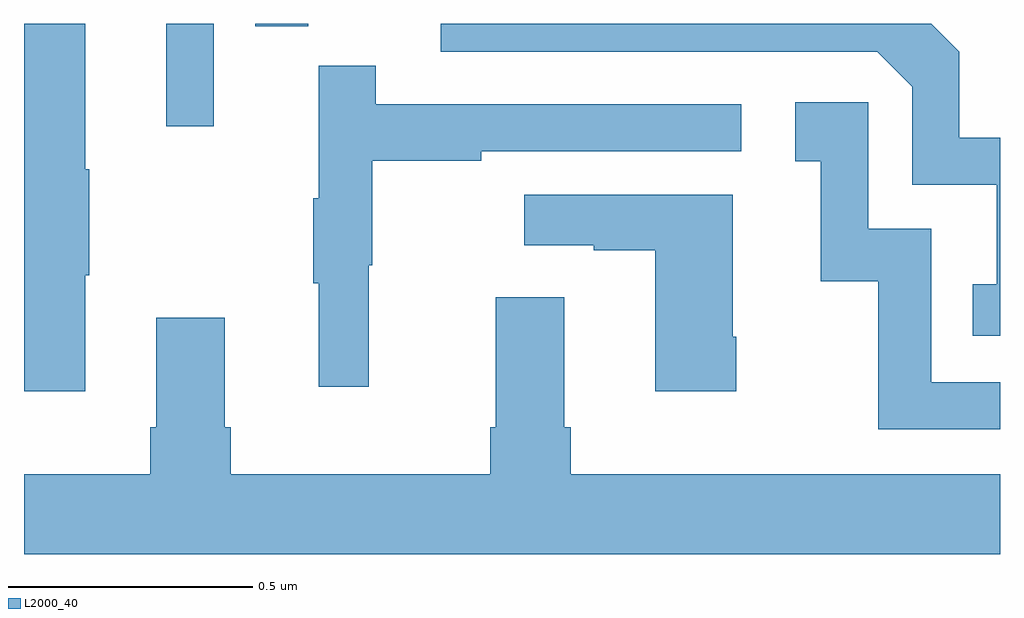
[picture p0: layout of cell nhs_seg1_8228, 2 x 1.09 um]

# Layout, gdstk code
import gdstk
lib = gdstk.Library(unit=1e-6, precision=1e-09)
def R(c, l, rs):  # rectangles x0, y0, x1, y1
    for r in rs: c.add(gdstk.rectangle(r[:2], r[2:], *l))
def P(c, l, *ps):  # polygons
    for p in ps: c.add(gdstk.Polygon(p, *l))
L2000_40 = (2000, 40)

nhs_seg1_8228 = lib.new_cell('nhs_seg1_8228')
R(nhs_seg1_8228, L2000_40, [(214.292,505.989,214.389,506.199), (214.474,506.194,214.582,506.199)])
P(nhs_seg1_8228, L2000_40, [(216,505.965),(215.916,505.965),(215.916,506.142),(215.859,506.199),(214.854,506.199),(214.854,506.142),(215.748,506.142),(215.82,506.07),(215.82,505.869),(215.993,505.869),(215.993,505.665),(215.944,505.665),(215.944,505.56),(216,505.56)],
  [(214.126,505.684),(214.134,505.684),(214.134,505.901),(214.126,505.901),(214.126,506.199),(214,506.199),(214,505.446),(214.126,505.446)],
  [(214.706,505.704),(214.714,505.704),(214.714,505.918),(214.937,505.918),(214.937,505.938),(215.47,505.938),(215.47,506.034),(214.721,506.034),(214.721,506.113),(214.604,506.113),(214.604,505.841),(214.593,505.841),(214.593,505.667),(214.604,505.667),(214.604,505.455),(214.706,505.455)],
  [(216,505.464),(215.859,505.464),(215.859,505.779),(215.73,505.779),(215.73,506.038),(215.58,506.038),(215.58,505.917),(215.633,505.917),(215.633,505.671),(215.751,505.671),(215.751,505.368),(216,505.368)],
  [(215.46,505.558),(215.452,505.558),(215.452,505.849),(215.025,505.849),(215.025,505.745),(215.168,505.745),(215.168,505.735),(215.294,505.735),(215.294,505.446),(215.46,505.446)],
  [(216,505.276),(215.12,505.276),(215.12,505.372),(215.107,505.372),(215.107,505.639),(214.967,505.639),(214.967,505.372),(214.955,505.372),(214.955,505.276),(214.424,505.276),(214.424,505.372),(214.411,505.372),(214.411,505.597),(214.271,505.597),(214.271,505.372),(214.259,505.372),(214.259,505.276),(214,505.276),(214,505.112),(216,505.112)])

lib.write_gds('nhs_seg1_8228.gds')
